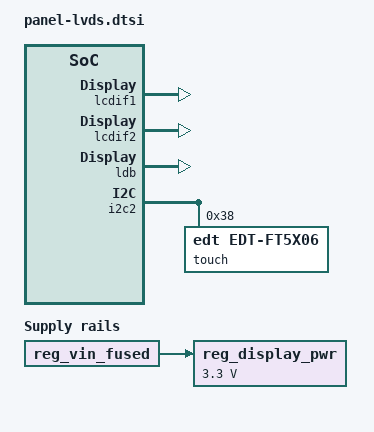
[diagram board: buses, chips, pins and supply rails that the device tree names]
/*
 * Copyright 2021 Keith & Koep GmbH
 *
 */

/*
Remarks:
Defines:
*/

#ifndef PANEL_LVDS_DTSI
#define PANEL_LVDS_DTSI

/ {

	reg_display_pwr: display-pwr {
		compatible = "regulator-fixed";
		regulator-name = "DISPLAY PWCTRL";
		regulator-min-microvolt = <3300000>;
		regulator-max-microvolt = <3300000>;
		regulator-always-on;
		vin-supply = <&reg_vin_fused>;
	};

};

/ {
	panel_lvds1: panel1 {
		status          = "disabled";
		compatible      = "panel-lvds";
		data-mapping = "vesa-24";
		width-mm = <154>;
		height-mm = <86>;
		backlight = <&backlight>;
		enable-gpios = <spin100_gpio GPIO_ACTIVE_HIGH>;

		panel-timing {
			clock-frequency = <51206400>;
			hactive = <1024>;
			vactive = <600>;
			hfront-porch = <159>;
			hsync-len = <2>;
			hback-porch = <159>;
			vfront-porch = <17>;
			vsync-len = <1>;
			vback-porch = <17>;
		};

		port {
			panel_lvds1_in: endpoint {
				remote-endpoint = <&lvds1_out>;
			};
		};
	};

};


#define TOUCH_INT	SPIN45_GPIO
#define touch_int_parent  &gpio3
#define touch_int_pin     4

&iomuxc {
	pinctrl_hog: hoggrp {
		fsl,pins = <
			SPIN100_GPIO1_IO05	PAD_GPIO	/* LCD1_VCC_ON */
		>;
	};

	pinctrl_captouch: captouchgrp {
		fsl,pins = <
					 TOUCH_INT  		PAD_GPIO /* IRQ */
			>;
	};
};


&lcdif1 {
	status = "okay";
};

&lcdif2 {
	status = "okay";
};

&ldb {
	status = "okay";
	lvds-channel@0 {
		status = "okay";
		fsl,data-mapping = "spwg";
		fsl,data-width = <24>;
		port@1 {
			reg = <1>;
			lvds1_out: endpoint {
				remote-endpoint = <&panel_lvds1_in>;
			};
		};
	};
};



&i2c2 {
	touch: edt-ft5x06@38 {
		compatible = "edt,edt-ft5x06", "edt,edt-ft5406";
		reg = <0x38>;
		pinctrl-names = "default";
		pinctrl-0 = <&pinctrl_captouch>;
		enable_wakeup = "true";
		interrupt-parent = <touch_int_parent>;
		interrupts = <touch_int_pin IRQ_TYPE_LEVEL_LOW>;
		touch-threshold     = <30>;
		touch-gain          = <3>;
		touch-offset        = <0>;
		touch-report-rate   = <8>;
		yreverse            = "true";
		xreverse            = "true";
 		xres                = <1024>;
 		yres	            = <600>;
		linux,wakeup;
	};
};

#endif
